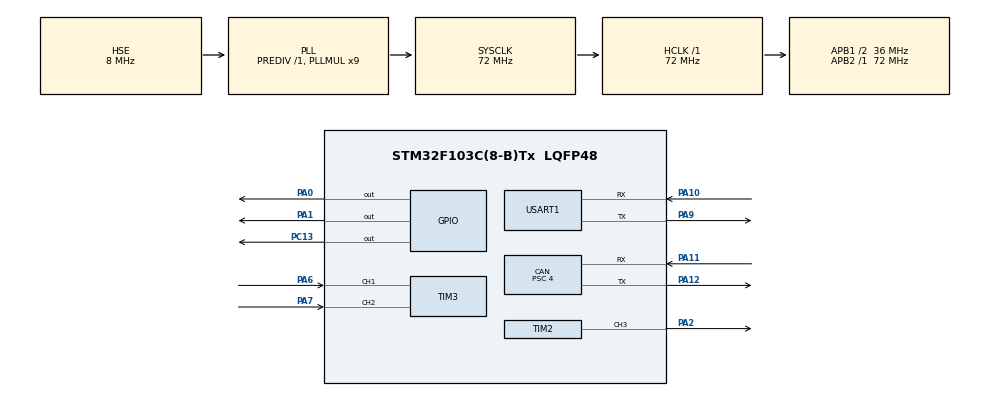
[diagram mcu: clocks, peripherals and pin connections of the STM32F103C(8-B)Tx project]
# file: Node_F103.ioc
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CAN.BS1=CAN_BS1_15TQ
CAN.BS2=CAN_BS2_2TQ
CAN.CalculateBaudRate=500000
CAN.CalculateTimeBit=2000
CAN.CalculateTimeQuantum=111.11111111111111
CAN.Mode=CAN_MODE_NORMAL
CAN.Prescaler=4
FREERTOS.Tasks01=TaskUART,24,512,StartTaskUART,Default,NULL,Dynamic,NULL,NULL;TaskLED,8,128,StartTaskLED,Default,NULL,Dynamic,NULL,NULL
Mcu.Family=STM32F1
Mcu.Name=STM32F103C(8-B)Tx
Mcu.Package=LQFP48
NVIC.PriorityGroup=NVIC_PRIORITYGROUP_4
NVIC.TIM2_IRQn=true\:5\:0\:false\:false\:true\:true\:true\:true\:true
NVIC.USART1_IRQn=true\:5\:0\:false\:false\:true\:true\:true\:true\:true
NVIC.USB_LP_CAN1_RX0_IRQn=true\:5\:0\:false\:false\:true\:true\:true\:true\:true
PA0-WKUP.Signal=GPIO_Output
PA1.Signal=GPIO_Output
PA10.Mode=Asynchronous
PA10.Signal=USART1_RX
PA11.Mode=CAN_Activate
PA11.Signal=CAN_RX
PA12.Mode=CAN_Activate
PA12.Signal=CAN_TX
PA13.Mode=Serial_Wire
PA13.Signal=SYS_JTMS-SWDIO
PA14.Mode=Serial_Wire
PA14.Signal=SYS_JTCK-SWCLK
PA2.Signal=S_TIM2_CH3
PA6.Signal=S_TIM3_CH1
PA7.Signal=S_TIM3_CH2
PA9.Mode=Asynchronous
PA9.Signal=USART1_TX
PC13-TAMPER-RTC.Signal=GPIO_Output
PD0-OSC_IN.Mode=HSE-External-Oscillator
PD0-OSC_IN.Signal=RCC_OSC_IN
PD1-OSC_OUT.Mode=HSE-External-Oscillator
PD1-OSC_OUT.Signal=RCC_OSC_OUT
ProjectManager.HeapSize=0x200
ProjectManager.StackSize=0x400
ProjectManager.TargetToolchain=MDK-ARM V5.32
RCC.AHBFreq_Value=72000000
RCC.APB1CLKDivider=RCC_HCLK_DIV2
RCC.APB1Freq_Value=36000000
RCC.APB1TimFreq_Value=72000000
RCC.APB2Freq_Value=72000000
RCC.APB2TimFreq_Value=72000000
RCC.HCLKFreq_Value=72000000
RCC.PLLMUL=RCC_PLL_MUL9
RCC.PLLSourceVirtual=RCC_PLLSOURCE_HSE
RCC.SYSCLKFreq_VALUE=72000000
RCC.SYSCLKSource=RCC_SYSCLKSOURCE_PLLCLK
RCC.USBFreq_Value=72000000
SH.S_TIM2_CH3.0=TIM2_CH3,PWM Generation3 CH3
SH.S_TIM3_CH1.0=TIM3_CH1,Encoder_Interface
SH.S_TIM3_CH2.0=TIM3_CH2,Encoder_Interface
TIM2.Channel-PWM\ Generation3\ CH3=TIM_CHANNEL_3
TIM2.Period=99
TIM2.Prescaler=71
TIM3.EncoderMode=TIM_ENCODERMODE_TI12
USART1.VirtualMode=VM_ASYNC
VP_FREERTOS_VS_CMSIS_V2.Mode=CMSIS_V2
VP_TIM2_VS_ClockSourceINT.Mode=Internal
board=custom

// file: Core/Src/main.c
/* USER CODE BEGIN Header */
/**
  ******************************************************************************
  * @file           : main.c
  * @brief          : Main program body
  ******************************************************************************
  * @attention
  *
  * Copyright (c) 2026 STMicroelectronics.
  * All rights reserved.
  *
  * This software is licensed under terms that can be found in the LICENSE file
  * in the root directory of this software component.
  * If no LICENSE file comes with this software, it is provided AS-IS.
  *
  ******************************************************************************
  */
/* USER CODE END Header */
#include "main.h"
#include "cmsis_os.h"
#include "can.h"
#include "tim.h"
#include "usart.h"
#include "gpio.h"

/* USER CODE BEGIN Includes */
#include <stdio.h>
#include "can.h"
/* USER CODE END Includes */

/* USER CODE BEGIN PV */
uint8_t RxBuff[1];
volatile uint8_t rx_flag = 0;
CAN_RxHeaderTypeDef RxHeader;
uint8_t RxData[8];
volatile uint8_t can_rx_flag = 0; // <--- 新增：CAN接收标志位
volatile int32_t target_speed = 0; // 全局目标速度
/* USER CODE END PV */

void SystemClock_Config(void);
void MX_FREERTOS_Init(void);

/* USER CODE BEGIN 0 */
#include <stdio.h>   // printf 需要这个头文件

/* 重定向 fputc：让 printf 的输出走串口1 */
/* 原理：printf 底层调用 fputc 一个字符一个字符地发，我们把每个字符用 HAL 串口发出去 */
int fputc(int ch, FILE *f)
{
    HAL_UART_Transmit(&huart1, (uint8_t *)&ch, 1, 0xFFFF); // 把1个字符通过串口1发出去
    return ch;                                             // 返回这个字符
}
/* USER CODE END 0 */

int main(void)
{

  /* MCU Configuration--------------------------------------------------------*/

  /* Reset of all peripherals, Initializes the Flash interface and the Systick. */
  HAL_Init();

  /* Configure the system clock */
  SystemClock_Config();

  /* Initialize all configured peripherals */
  MX_GPIO_Init();
  MX_USART1_UART_Init();
  MX_TIM2_Init();
  MX_CAN_Init();
  MX_TIM3_Init();
  /* USER CODE BEGIN 2 */
   // CAN 过滤器
  CAN_FilterTypeDef sFilterConfig;
  sFilterConfig.FilterBank = 0;
  sFilterConfig.FilterMode = CAN_FILTERMODE_IDMASK;
  sFilterConfig.FilterScale = CAN_FILTERSCALE_32BIT;
  sFilterConfig.FilterIdHigh = 0x0000;
  sFilterConfig.FilterIdLow = 0x0000;
  sFilterConfig.FilterMaskIdHigh = 0x0000;
  sFilterConfig.FilterMaskIdLow = 0x0000;
  sFilterConfig.FilterFIFOAssignment = CAN_RX_FIFO0;
  sFilterConfig.FilterActivation = ENABLE;
  sFilterConfig.SlaveStartFilterBank = 14;
  HAL_CAN_ConfigFilter(&hcan, &sFilterConfig);

  HAL_CAN_Start(&hcan);
  HAL_CAN_ActivateNotification(&hcan, CAN_IT_RX_FIFO0_MSG_PENDING);
	 HAL_TIM_PWM_Start(&htim2, TIM_CHANNEL_3);
  HAL_TIM_Encoder_Start(&htim3, TIM_CHANNEL_ALL);

  /* USER CODE END 2 */

  /* Init scheduler */
  osKernelInitialize();  /* Call init function for freertos objects (in cmsis_os2.c) */
  MX_FREERTOS_Init();

  /* Start scheduler */
  osKernelStart();

  /* We should never get here as control is now taken by the scheduler */

  /* Infinite loop */
  while (1)
  {

  }
}

void SystemClock_Config(void)
{
  RCC_OscInitTypeDef RCC_OscInitStruct = {0};
  RCC_ClkInitTypeDef RCC_ClkInitStruct = {0};

  /** Initializes the RCC Oscillators according to the specified parameters
  * in the RCC_OscInitTypeDef structure.
  */
  RCC_OscInitStruct.OscillatorType = RCC_OSCILLATORTYPE_HSE;
  RCC_OscInitStruct.HSEState = RCC_HSE_ON;
  RCC_OscInitStruct.HSEPredivValue = RCC_HSE_PREDIV_DIV1;
  RCC_OscInitStruct.HSIState = RCC_HSI_ON;
  RCC_OscInitStruct.PLL.PLLState = RCC_PLL_ON;
  RCC_OscInitStruct.PLL.PLLSource = RCC_PLLSOURCE_HSE;
  RCC_OscInitStruct.PLL.PLLMUL = RCC_PLL_MUL9;
  if (HAL_RCC_OscConfig(&RCC_OscInitStruct) != HAL_OK)
  {
    Error_Handler();
  }

  /** Initializes the CPU, AHB and APB buses clocks
  */
  RCC_ClkInitStruct.ClockType = RCC_CLOCKTYPE_HCLK|RCC_CLOCKTYPE_SYSCLK
                              |RCC_CLOCKTYPE_PCLK1|RCC_CLOCKTYPE_PCLK2;
  RCC_ClkInitStruct.SYSCLKSource = RCC_SYSCLKSOURCE_PLLCLK;
  RCC_ClkInitStruct.AHBCLKDivider = RCC_SYSCLK_DIV1;
  RCC_ClkInitStruct.APB1CLKDivider = RCC_HCLK_DIV2;
  RCC_ClkInitStruct.APB2CLKDivider = RCC_HCLK_DIV1;

  if (HAL_RCC_ClockConfig(&RCC_ClkInitStruct, FLASH_LATENCY_2) != HAL_OK)
  {
    Error_Handler();
  }
}

/* USER CODE BEGIN 4 */
// 串口接收完成中断回调函数
void HAL_UART_RxCpltCallback(UART_HandleTypeDef *huart)
{
    if(huart->Instance == USART1)
    {
        rx_flag = 1;
        HAL_UART_Receive_IT(&huart1, RxBuff, 1);
    }
}

// CAN 接收中断回调函数
void HAL_CAN_RxFifo0MsgPendingCallback(CAN_HandleTypeDef *hcan)
{
    // 进中断翻转灯
    HAL_GPIO_WritePin(GPIOC, GPIO_PIN_13, GPIO_PIN_RESET); // 如果你要翻转，用Toggle

    if (HAL_CAN_GetRxMessage(hcan, CAN_RX_FIFO0, &RxHeader, RxData) == HAL_OK)
    {
        if (RxHeader.StdId == 0x123)
        {
            // ⚠️ 核心修改：把 F407 发来的 50 映射为目标转速（比如 50 * 5 = 250）
            // 这里的映射系数可以根据你电机的实际转速范围调整
           target_speed = RxData[0] * 5;

            // 方向控制依然保留
            HAL_GPIO_WritePin(GPIOA, GPIO_PIN_0, GPIO_PIN_SET);
            HAL_GPIO_WritePin(GPIOA, GPIO_PIN_1, GPIO_PIN_RESET);
        }
    }
}
/* USER CODE END 4 */

void Error_Handler(void)
{
  __disable_irq();
  while (1)
  {
  }
}

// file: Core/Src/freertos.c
/* USER CODE BEGIN Header */
/**
  ******************************************************************************
  * File Name          : freertos.c
  * Description        : Code for freertos applications
  ******************************************************************************
  * @attention
  *
  * Copyright (c) 2026 STMicroelectronics.
  * All rights reserved.
  *
  * This software is licensed under terms that can be found in the LICENSE file
  * in the root directory of this software component.
  * If no LICENSE file comes with this software, it is provided AS-IS.
  *
  ******************************************************************************
  */
/* USER CODE END Header */

#include "FreeRTOS.h"
#include "task.h"
#include "main.h"
#include "cmsis_os.h"

/* USER CODE BEGIN Includes */
#include "usart.h"
#include <stdio.h>
#include "tim.h"
#include "can.h"
/* USER CODE END Includes */

/* USER CODE BEGIN PD */
extern uint8_t rx_flag;
extern uint8_t RxBuff[1];
extern volatile uint8_t can_rx_flag;
extern CAN_RxHeaderTypeDef RxHeader;
extern uint8_t RxData[8];
extern volatile int32_t target_speed;
/* USER CODE END PD */

/* Definitions for TaskUART */
osThreadId_t TaskUARTHandle;
const osThreadAttr_t TaskUART_attributes = {
  .name = "TaskUART",
  .stack_size = 512 * 4,
  .priority = (osPriority_t) osPriorityNormal,
};
/* Definitions for TaskLED */
osThreadId_t TaskLEDHandle;
const osThreadAttr_t TaskLED_attributes = {
  .name = "TaskLED",
  .stack_size = 128 * 4,
  .priority = (osPriority_t) osPriorityLow,
};

void StartTaskUART(void *argument);
void StartTaskLED(void *argument);

void MX_FREERTOS_Init(void); /* (MISRA C 2004 rule 8.1) */

void MX_FREERTOS_Init(void) {

  /* Create the thread(s) */
  /* creation of TaskUART */
  TaskUARTHandle = osThreadNew(StartTaskUART, NULL, &TaskUART_attributes);

  /* creation of TaskLED */
  TaskLEDHandle = osThreadNew(StartTaskLED, NULL, &TaskLED_attributes);

}

void StartTaskUART(void *argument)
{
  /* USER CODE BEGIN StartTaskUART */
  /* Infinite loop */

  // 声明 F407 接收反馈的 CAN 帧头
  CAN_TxHeaderTypeDef TxHeader;
  uint32_t TxMailbox;
  uint8_t TxData[2];

  TxHeader.StdId = 0x201;  // 0x201 是回传数据
  TxHeader.ExtId = 0;
  TxHeader.IDE = CAN_ID_STD;
  TxHeader.RTR = CAN_RTR_DATA;
  TxHeader.DLC = 2;
  TxHeader.TransmitGlobalTime = DISABLE;

  // --- PID 参数变量 ---
  int32_t last_encoder = 0;
  float err = 0, last_err = 0, prev_err = 0;
  float pwm_output = 0;

  // ⚠️ PID 三个参数 (Kp, Ki, Kd)，你需要根据实际情况微调
  float Kp = 0.8;
  float Ki = 0.2;
  float Kd = 0.5;

  for(;;)
  {
    // 1. 读取当前编码器数值 (强转成 16 位有符号整数)
    int16_t current_encoder = (int16_t)__HAL_TIM_GET_COUNTER(&htim3);

    // 2. 计算实际速度 (强转成 int16_t 相减，自动处理 65535->0 的溢出)
    int16_t actual_speed = current_encoder - (int16_t)last_encoder;
		if (actual_speed > 5000) actual_speed = 5000;
    if (actual_speed < -5000) actual_speed = -5000;
    last_encoder = current_encoder;

    // 3. 计算误差
    err = target_speed - actual_speed;

    // 4. 增量式 PID 计算
    float pwm_increment = (Kp * (err - last_err)) + (Ki * err) + (Kd * (err - 2*last_err + prev_err));
    pwm_output += pwm_increment;
    prev_err = last_err;
    last_err = err;

    // 5. 限幅输出 (保证 PWM 在 0-999 之间)
    if(pwm_output > 999) pwm_output = 999;
    if(pwm_output < 0) pwm_output = 0;

    // 6. 把 PID 算出来的值送给电机
    __HAL_TIM_SET_COMPARE(&htim2, TIM_CHANNEL_3, (uint32_t)pwm_output);

    // 7. 通过 CAN 把实际速度发给 F407
    TxData[0] = (actual_speed >> 8) & 0xFF; // 高 8 位
    TxData[1] = actual_speed & 0xFF;        // 低 8 位
    if (HAL_CAN_GetTxMailboxesFreeLevel(&hcan) > 0)
    {
        HAL_CAN_AddTxMessage(&hcan, &TxHeader, TxData, &TxMailbox);
    }

    // 8. 打印到串口方便调试
    printf("Target: %d, Actual: %d, PWM: %.1f\r\n", target_speed, actual_speed, pwm_output);

    osDelay(50); // ⚠️ 周期变成 50ms，PID 响应更快
  }

  /* USER CODE END StartTaskUART */
}

void StartTaskLED(void *argument)
{
  /* USER CODE BEGIN StartTaskLED */
  /* Infinite loop */
  for(;;)
  {
    HAL_GPIO_TogglePin(GPIOC, GPIO_PIN_13);  // 翻转LED
    osDelay(2000);                            // FreeRTOS延时500ms（用osDelay，不用HAL_Delay！）
  }
  /* USER CODE END StartTaskLED */
}
